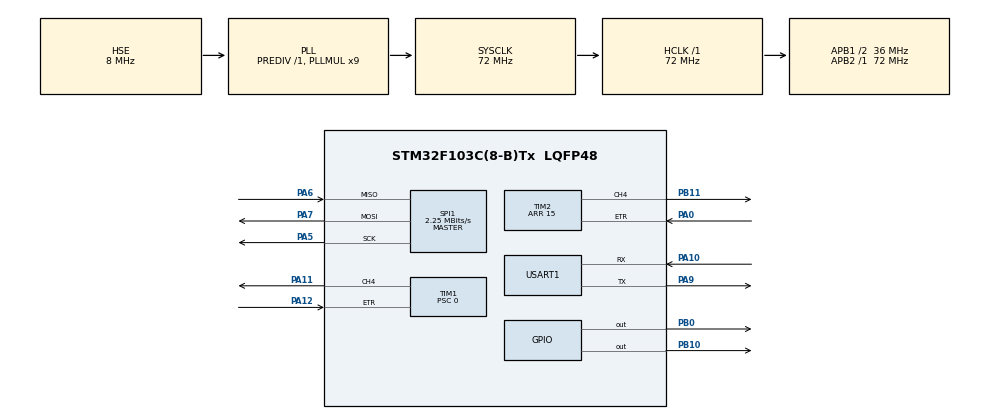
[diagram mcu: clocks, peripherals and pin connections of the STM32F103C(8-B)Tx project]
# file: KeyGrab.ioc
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Mcu.Family=STM32F1
Mcu.Name=STM32F103C(8-B)Tx
Mcu.Package=LQFP48
NVIC.PriorityGroup=NVIC_PRIORITYGROUP_4
PA0-WKUP.Signal=S_TIM2_CH1_ETR
PA10.Mode=Asynchronous
PA10.Signal=USART1_RX
PA11.GPIO_Speed=GPIO_SPEED_FREQ_HIGH
PA11.Signal=S_TIM1_CH4
PA12.Signal=S_TIM1_ETR
PA13.Mode=Serial_Wire
PA13.Signal=SYS_JTMS-SWDIO
PA14.Mode=Serial_Wire
PA14.Signal=SYS_JTCK-SWCLK
PA5.Mode=Full_Duplex_Master
PA5.Signal=SPI1_SCK
PA6.Mode=Full_Duplex_Master
PA6.Signal=SPI1_MISO
PA7.Mode=Full_Duplex_Master
PA7.Signal=SPI1_MOSI
PA9.Mode=Asynchronous
PA9.Signal=USART1_TX
PB0.GPIO_Speed=GPIO_SPEED_FREQ_HIGH
PB0.Signal=GPIO_Output
PB10.PinState=GPIO_PIN_RESET
PB10.Signal=GPIO_Output
PB11.GPIO_Speed=GPIO_SPEED_FREQ_HIGH
PB11.Signal=S_TIM2_CH4
PD0-OSC_IN.Mode=HSE-External-Oscillator
PD0-OSC_IN.Signal=RCC_OSC_IN
PD1-OSC_OUT.Mode=HSE-External-Oscillator
PD1-OSC_OUT.Signal=RCC_OSC_OUT
ProjectManager.HeapSize=0x400
ProjectManager.StackSize=0x800
ProjectManager.TargetToolchain=EWARM V7
RCC.AHBFreq_Value=72000000
RCC.APB1CLKDivider=RCC_HCLK_DIV2
RCC.APB1Freq_Value=36000000
RCC.APB1TimFreq_Value=72000000
RCC.APB2Freq_Value=72000000
RCC.APB2TimFreq_Value=72000000
RCC.HCLKFreq_Value=72000000
RCC.PLLMUL=RCC_PLL_MUL9
RCC.PLLSourceVirtual=RCC_PLLSOURCE_HSE
RCC.SYSCLKFreq_VALUE=72000000
RCC.SYSCLKSource=RCC_SYSCLKSOURCE_PLLCLK
RCC.USBFreq_Value=72000000
SH.S_TIM1_CH4.0=TIM1_CH4,Output Compare4 CH4
SH.S_TIM1_ETR.0=TIM1_ETR,ClockSourceETR_Mode2
SH.S_TIM2_CH1_ETR.0=TIM2_ETR,ClockSourceETR_Mode2
SH.S_TIM2_CH4.0=TIM2_CH4,PWM Generation4 CH4
SPI1.BaudRatePrescaler=SPI_BAUDRATEPRESCALER_32
SPI1.CalculateBaudRate=2.25 MBits/s
SPI1.Direction=SPI_DIRECTION_2LINES
SPI1.FirstBit=SPI_FIRSTBIT_LSB
SPI1.Mode=SPI_MODE_MASTER
SPI1.VirtualType=VM_MASTER
TIM1.Channel-Output\ Compare4\ CH4=TIM_CHANNEL_4
TIM1.OCIdleState_4=TIM_OCIDLESTATE_SET
TIM1.OCMode_4=TIM_OCMODE_TOGGLE
TIM1.OCPolarity_4=TIM_OCPOLARITY_LOW
TIM1.Period=65535
TIM1.Prescaler=0
TIM1.Pulse-Output\ Compare4\ CH4=65535
TIM1.TIM_MasterOutputTrigger=TIM_TRGO_OC4REF
TIM1.TIM_MasterSlaveMode=TIM_MASTERSLAVEMODE_DISABLE
TIM2.Channel-PWM\ Generation4\ CH4=TIM_CHANNEL_4
TIM2.OCPolarity_4=TIM_OCPOLARITY_HIGH
TIM2.Period=15
TIM2.Pulse-PWM\ Generation4\ CH4=7
USART1.VirtualMode=VM_ASYNC
VP_TIM2_VS_ClockSourceITR.Mode=TriggerSource_ITR0
VP_TIM2_VS_ControllerModeGated.Mode=Gated Mode
board=custom

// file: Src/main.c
/* USER CODE BEGIN Header */
//#define DEBUG
/* USER CODE END Header */

#include "main.h"

/* USER CODE BEGIN Includes */

#include "pn532.h"
#include "Vcard.h"

/* USER CODE END Includes */

SPI_HandleTypeDef hspi1;

TIM_HandleTypeDef htim1;
TIM_HandleTypeDef htim2;

UART_HandleTypeDef huart1;

/* USER CODE BEGIN PV */

extern uint8_t uid[], uidLength, nuid;  //  UID
extern char Tx[512];
extern uint16_t  fv_1;
uint8_t Wait_Tag[] = {"\n\rWaiting Tag"};
uint8_t N_con_A[] = {"\n\rNot connected PN532_A\n\r"};
uint8_t CRLF[] = {'\n','\r'};

/* USER CODE END PV */

void SystemClock_Config(void);
static void MX_GPIO_Init(void);
static void MX_TIM1_Init(void);
static void MX_TIM2_Init(void);
static void MX_SPI1_Init(void);
static void MX_USART1_UART_Init(void);

int main(void)
{
  /* USER CODE BEGIN 1 */
	  uint8_t t, tmp, i = 0;

  /* USER CODE END 1 */

  /* MCU Configuration--------------------------------------------------------*/

  /* Reset of all peripherals, Initializes the Flash interface and the Systick. */
  HAL_Init();

  /* Configure the system clock */
  SystemClock_Config();

  /* Initialize all configured peripherals */
  MX_GPIO_Init();
  MX_TIM1_Init();
  MX_TIM2_Init();
  MX_SPI1_Init();
  MX_USART1_UART_Init();
  /* USER CODE BEGIN 2 */

  CS_LOW(&hspi1);
  HAL_Delay(1);
  CS_HIGH(&hspi1);

  for(i = 0;(i < 5) && !(fv_1 = getFirmwareVersion(&hspi1)); i++);			// Проверка подключения PN532
  if(i == 5){
	   HAL_UART_Transmit(&huart1,N_con_A,(sizeof(N_con_A) - 1),1000);
	   while(1);
  }
  SAM_Config(&hspi1);

#ifndef DEBUG

  HAL_UART_Transmit(&huart1,CRLF,sizeof(CRLF),1000);
  while( !readPassiveTargetID(&hspi1,PN532_MIFARE_ISO14443A, uid, &uidLength) ){	// Ожидание ключа
	  tmp ='.';
	  HAL_UART_Transmit(&huart1,&tmp,1,1000);
	  HAL_Delay(20);
	  for(i = 0;(i < 5) && !(fv_1 = getFirmwareVersion(&hspi1)); i++);
	  if(i == 5){
		   HAL_UART_Transmit(&huart1,N_con_A,(sizeof(N_con_A) - 1),1000);
		   while(1);
	  }
	  SAM_Config(&hspi1);
  }

  for(i = 0, uid[uidLength] = 0; i < uidLength; i++){   //Вычисление BCC для UID
	  uid[uidLength] ^= uid[ i ];
  }
    nuid = uidLength + 1;

	t = sprintf((char *) Tx,"\n\rFound  Tag with  UID    0x%2.2X%2.2X%2.2X%2.2X\n\r",uid[0],uid[1],uid[2],uid[3]);
	HAL_UART_Transmit(&huart1, (uint8_t *)Tx, t, 1000);

#endif   //DEBUG

	for (i = 0, uid[uidLength] = 0; i < uidLength; i++) { //Вычисление BCC для UID
		uid[uidLength] ^= uid[i];
	}
	nuid = uidLength + 1;
  /* USER CODE END 2 */

  /* Infinite loop */
  /* USER CODE BEGIN WHILE */
	InitVirtCard();
	InitPN532_1();

  while (1)
  {
	  vc();

    /* USER CODE END WHILE */

  }
}

void SystemClock_Config(void)
{
  RCC_OscInitTypeDef RCC_OscInitStruct = {0};
  RCC_ClkInitTypeDef RCC_ClkInitStruct = {0};

  /** Initializes the CPU, AHB and APB busses clocks
  */
  RCC_OscInitStruct.OscillatorType = RCC_OSCILLATORTYPE_HSE;
  RCC_OscInitStruct.HSEState = RCC_HSE_ON;
  RCC_OscInitStruct.HSEPredivValue = RCC_HSE_PREDIV_DIV1;
  RCC_OscInitStruct.HSIState = RCC_HSI_ON;
  RCC_OscInitStruct.PLL.PLLState = RCC_PLL_ON;
  RCC_OscInitStruct.PLL.PLLSource = RCC_PLLSOURCE_HSE;
  RCC_OscInitStruct.PLL.PLLMUL = RCC_PLL_MUL9;
  if (HAL_RCC_OscConfig(&RCC_OscInitStruct) != HAL_OK)
  {
    Error_Handler();
  }
  /** Initializes the CPU, AHB and APB busses clocks
  */
  RCC_ClkInitStruct.ClockType = RCC_CLOCKTYPE_HCLK|RCC_CLOCKTYPE_SYSCLK
                              |RCC_CLOCKTYPE_PCLK1|RCC_CLOCKTYPE_PCLK2;
  RCC_ClkInitStruct.SYSCLKSource = RCC_SYSCLKSOURCE_PLLCLK;
  RCC_ClkInitStruct.AHBCLKDivider = RCC_SYSCLK_DIV1;
  RCC_ClkInitStruct.APB1CLKDivider = RCC_HCLK_DIV2;
  RCC_ClkInitStruct.APB2CLKDivider = RCC_HCLK_DIV1;

  if (HAL_RCC_ClockConfig(&RCC_ClkInitStruct, FLASH_LATENCY_2) != HAL_OK)
  {
    Error_Handler();
  }
}

static void MX_SPI1_Init(void)
{

  /* SPI1 parameter configuration*/
  hspi1.Instance = SPI1;
  hspi1.Init.Mode = SPI_MODE_MASTER;
  hspi1.Init.Direction = SPI_DIRECTION_2LINES;
  hspi1.Init.DataSize = SPI_DATASIZE_8BIT;
  hspi1.Init.CLKPolarity = SPI_POLARITY_LOW;
  hspi1.Init.CLKPhase = SPI_PHASE_1EDGE;
  hspi1.Init.NSS = SPI_NSS_SOFT;
  hspi1.Init.BaudRatePrescaler = SPI_BAUDRATEPRESCALER_32;
  hspi1.Init.FirstBit = SPI_FIRSTBIT_LSB;
  hspi1.Init.TIMode = SPI_TIMODE_DISABLE;
  hspi1.Init.CRCCalculation = SPI_CRCCALCULATION_DISABLE;
  hspi1.Init.CRCPolynomial = 10;
  if (HAL_SPI_Init(&hspi1) != HAL_OK)
  {
    Error_Handler();
  }

}

static void MX_TIM1_Init(void)
{

  TIM_ClockConfigTypeDef sClockSourceConfig = {0};
  TIM_MasterConfigTypeDef sMasterConfig = {0};
  TIM_OC_InitTypeDef sConfigOC = {0};
  TIM_BreakDeadTimeConfigTypeDef sBreakDeadTimeConfig = {0};

  htim1.Instance = TIM1;
  htim1.Init.Prescaler = 0;
  htim1.Init.CounterMode = TIM_COUNTERMODE_UP;
  htim1.Init.Period = 65535;
  htim1.Init.ClockDivision = TIM_CLOCKDIVISION_DIV1;
  htim1.Init.RepetitionCounter = 0;
  htim1.Init.AutoReloadPreload = TIM_AUTORELOAD_PRELOAD_DISABLE;
  if (HAL_TIM_Base_Init(&htim1) != HAL_OK)
  {
    Error_Handler();
  }
  sClockSourceConfig.ClockSource = TIM_CLOCKSOURCE_ETRMODE2;
  sClockSourceConfig.ClockPolarity = TIM_CLOCKPOLARITY_NONINVERTED;
  sClockSourceConfig.ClockPrescaler = TIM_CLOCKPRESCALER_DIV1;
  sClockSourceConfig.ClockFilter = 0;
  if (HAL_TIM_ConfigClockSource(&htim1, &sClockSourceConfig) != HAL_OK)
  {
    Error_Handler();
  }
  if (HAL_TIM_OC_Init(&htim1) != HAL_OK)
  {
    Error_Handler();
  }
  sMasterConfig.MasterOutputTrigger = TIM_TRGO_OC4REF;
  sMasterConfig.MasterSlaveMode = TIM_MASTERSLAVEMODE_DISABLE;
  if (HAL_TIMEx_MasterConfigSynchronization(&htim1, &sMasterConfig) != HAL_OK)
  {
    Error_Handler();
  }
  sConfigOC.OCMode = TIM_OCMODE_TOGGLE;
  sConfigOC.Pulse = 65535;
  sConfigOC.OCPolarity = TIM_OCPOLARITY_LOW;
  sConfigOC.OCFastMode = TIM_OCFAST_DISABLE;
  sConfigOC.OCIdleState = TIM_OCIDLESTATE_SET;
  sConfigOC.OCNIdleState = TIM_OCNIDLESTATE_RESET;
  if (HAL_TIM_OC_ConfigChannel(&htim1, &sConfigOC, TIM_CHANNEL_4) != HAL_OK)
  {
    Error_Handler();
  }
  sBreakDeadTimeConfig.OffStateRunMode = TIM_OSSR_DISABLE;
  sBreakDeadTimeConfig.OffStateIDLEMode = TIM_OSSI_DISABLE;
  sBreakDeadTimeConfig.LockLevel = TIM_LOCKLEVEL_OFF;
  sBreakDeadTimeConfig.DeadTime = 0;
  sBreakDeadTimeConfig.BreakState = TIM_BREAK_DISABLE;
  sBreakDeadTimeConfig.BreakPolarity = TIM_BREAKPOLARITY_HIGH;
  sBreakDeadTimeConfig.AutomaticOutput = TIM_AUTOMATICOUTPUT_DISABLE;
  if (HAL_TIMEx_ConfigBreakDeadTime(&htim1, &sBreakDeadTimeConfig) != HAL_OK)
  {
    Error_Handler();
  }
  HAL_TIM_MspPostInit(&htim1);

}

static void MX_TIM2_Init(void)
{

  TIM_ClockConfigTypeDef sClockSourceConfig = {0};
  TIM_SlaveConfigTypeDef sSlaveConfig = {0};
  TIM_MasterConfigTypeDef sMasterConfig = {0};
  TIM_OC_InitTypeDef sConfigOC = {0};

  htim2.Instance = TIM2;
  htim2.Init.Prescaler = 0;
  htim2.Init.CounterMode = TIM_COUNTERMODE_UP;
  htim2.Init.Period = 15;
  htim2.Init.ClockDivision = TIM_CLOCKDIVISION_DIV1;
  htim2.Init.AutoReloadPreload = TIM_AUTORELOAD_PRELOAD_DISABLE;
  if (HAL_TIM_Base_Init(&htim2) != HAL_OK)
  {
    Error_Handler();
  }
  sClockSourceConfig.ClockSource = TIM_CLOCKSOURCE_ETRMODE2;
  sClockSourceConfig.ClockPolarity = TIM_CLOCKPOLARITY_NONINVERTED;
  sClockSourceConfig.ClockPrescaler = TIM_CLOCKPRESCALER_DIV1;
  sClockSourceConfig.ClockFilter = 0;
  if (HAL_TIM_ConfigClockSource(&htim2, &sClockSourceConfig) != HAL_OK)
  {
    Error_Handler();
  }
  if (HAL_TIM_PWM_Init(&htim2) != HAL_OK)
  {
    Error_Handler();
  }
  sSlaveConfig.SlaveMode = TIM_SLAVEMODE_GATED;
  sSlaveConfig.InputTrigger = TIM_TS_ITR0;
  if (HAL_TIM_SlaveConfigSynchronization(&htim2, &sSlaveConfig) != HAL_OK)
  {
    Error_Handler();
  }
  sMasterConfig.MasterOutputTrigger = TIM_TRGO_RESET;
  sMasterConfig.MasterSlaveMode = TIM_MASTERSLAVEMODE_DISABLE;
  if (HAL_TIMEx_MasterConfigSynchronization(&htim2, &sMasterConfig) != HAL_OK)
  {
    Error_Handler();
  }
  sConfigOC.OCMode = TIM_OCMODE_PWM1;
  sConfigOC.Pulse = 7;
  sConfigOC.OCPolarity = TIM_OCPOLARITY_HIGH;
  sConfigOC.OCFastMode = TIM_OCFAST_DISABLE;
  if (HAL_TIM_PWM_ConfigChannel(&htim2, &sConfigOC, TIM_CHANNEL_4) != HAL_OK)
  {
    Error_Handler();
  }
  HAL_TIM_MspPostInit(&htim2);

}

static void MX_USART1_UART_Init(void)
{

  huart1.Instance = USART1;
  huart1.Init.BaudRate = 115200;
  huart1.Init.WordLength = UART_WORDLENGTH_8B;
  huart1.Init.StopBits = UART_STOPBITS_1;
  huart1.Init.Parity = UART_PARITY_NONE;
  huart1.Init.Mode = UART_MODE_TX_RX;
  huart1.Init.HwFlowCtl = UART_HWCONTROL_NONE;
  huart1.Init.OverSampling = UART_OVERSAMPLING_16;
  if (HAL_UART_Init(&huart1) != HAL_OK)
  {
    Error_Handler();
  }

}

static void MX_GPIO_Init(void)
{
  GPIO_InitTypeDef GPIO_InitStruct = {0};

  /* GPIO Ports Clock Enable */
  __HAL_RCC_GPIOD_CLK_ENABLE();
  __HAL_RCC_GPIOA_CLK_ENABLE();
  __HAL_RCC_GPIOB_CLK_ENABLE();

  /*Configure GPIO pin Output Level */
  HAL_GPIO_WritePin(GPIOB, GPIO_PIN_0|GPIO_PIN_10, GPIO_PIN_RESET);

  /*Configure GPIO pin : PB0 */
  GPIO_InitStruct.Pin = GPIO_PIN_0;
  GPIO_InitStruct.Mode = GPIO_MODE_OUTPUT_PP;
  GPIO_InitStruct.Pull = GPIO_NOPULL;
  GPIO_InitStruct.Speed = GPIO_SPEED_FREQ_HIGH;
  HAL_GPIO_Init(GPIOB, &GPIO_InitStruct);

  /*Configure GPIO pin : PB10 */
  GPIO_InitStruct.Pin = GPIO_PIN_10;
  GPIO_InitStruct.Mode = GPIO_MODE_OUTPUT_PP;
  GPIO_InitStruct.Pull = GPIO_NOPULL;
  GPIO_InitStruct.Speed = GPIO_SPEED_FREQ_LOW;
  HAL_GPIO_Init(GPIOB, &GPIO_InitStruct);

}

void Error_Handler(void)
{
}

/************************ (C) COPYRIGHT STMicroelectronics *****END OF FILE****/
